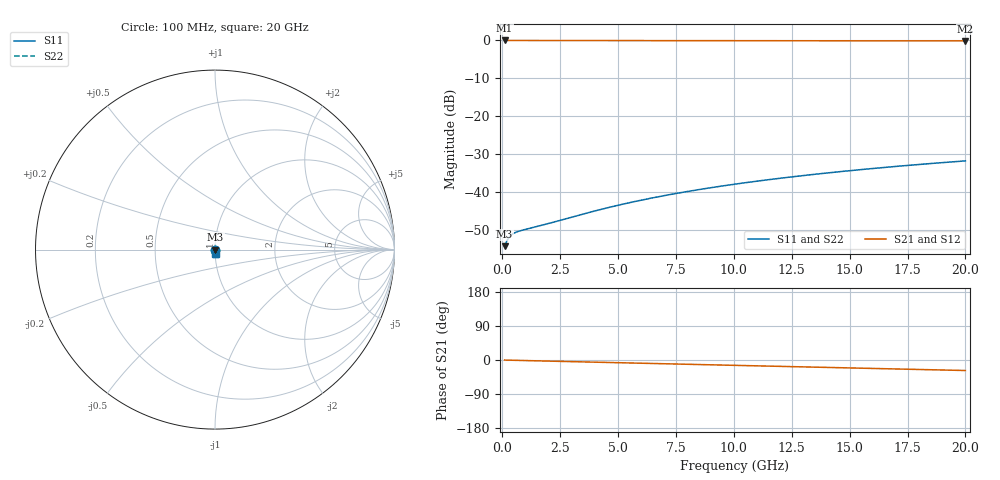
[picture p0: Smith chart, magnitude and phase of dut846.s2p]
! Touchstone file exported from HFSS 2026.1.0
!  File:  C:/ffzhzh/LocalFiles/Ansys_Project_Files/temp_train_BSMRDL_846_1783170489_43440.aedt
!  Generated:  09:09:17 PM Jul  4, 2026
!  Design:  BSMRDL
!  Project:  temp_train_BSMRDL_846_1783170489_43440
! Variables:
!  h_bsmrdl = 4.79um
!  h_ox = 20um
!  h_rdl = 5um
!  h_sub = 80um
!  h_tmrdl = 5um
!  h_tsv = 80um
!  h_via = 3um
!  l_bsmrdl = 495.17um
!  l_sub = 895.17um
!  l_tmrdl = 200um
!  m_sub = 200um
!  pitch = 26.62um
!  r_tsv = 6um
!  s_tmrdl = 10um
!  w_bsmrdl = 22.29um
!  w_sub = 500um
!  w_tmrdl = 12um
!  x_tsv_center1 = 206um
!  x_tsv_center2 = 723.46um
!  x_tsv_center3 = 935.46um
!  x_tsv_center4 = 1452.92um
!  x_tsv_center5 = 1664.92um
!  x_tsv_center6 = 2182.38um
# GHz S MA R 50.000000
! Terminal data exported
! Port[1] = BSM_RDL1_1_T1
! Port[2] = BSM_RDL1_1_T2
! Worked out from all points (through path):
!   200 points, 100 MHz to 20 GHz, reference 50 ohm
!   highest |S21| = -0.02 dB at 100 MHz (marker M1); lowest = -0.1 dB at 20 GHz (marker M2)
!   group delay of S21, straight-line fit = 3.83 ps
!   lowest |S11| = -54.2 dB at 100 MHz (marker M3), VSWR 1.00, Z = 50.2 + j0.0428 ohm
!   |S11| at or under -10 dB: start of sweep to end of sweep
!   |S22| runs from -54.2 to -31.8 dB; largest |S21 - S12| = 2.2e-15
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0.1  0.001951 12.6  0.9981 -0.2  0.9981 -0.2  0.001951 12.6
! Gamma 0 0 0 0
! Port Impedance 50 0 50 0
0.2  0.002298 16.4  0.9978 -0.3  0.9978 -0.3  0.002298 16.4
0.3  0.002575 15.7  0.9975 -0.5  0.9975 -0.5  0.002574 15.7
0.4  0.002762 14.0  0.9973 -0.6  0.9973 -0.6  0.002761 14.0
0.5  0.002891 12.3  0.9972 -0.8  0.9972 -0.8  0.00289 12.3
0.6  0.002985 10.9  0.9971 -0.9  0.9971 -0.9  0.002984 10.9
0.8  0.003126 8.7  0.9969 -1.2  0.9969 -1.2  0.003124 8.7
1.8  0.003737 2.2  0.9963 -2.6  0.9963 -2.6  0.003732 2.2
3.5  0.005182 -9.8  0.9948 -5.1  0.9948 -5.1  0.00517 -9.8
4.3  0.005993 -16.1  0.9941 -6.2  0.9941 -6.2  0.005975 -16.2
5.1  0.006856 -22.3  0.9934 -7.3  0.9934 -7.3  0.00683 -22.4
5.9  0.007757 -28.2  0.9927 -8.4  0.9927 -8.4  0.007723 -28.2
6.8  0.008805 -34.3  0.992 -9.7  0.992 -9.7  0.008762 -34.4
7.6  0.009762 -39.2  0.9914 -10.8  0.9914 -10.8  0.00971 -39.3
8.4  0.01074 -43.7  0.9908 -11.9  0.9908 -11.9  0.01068 -43.9
10.1  0.01286 -52.1  0.9898 -14.2  0.9898 -14.2  0.01278 -52.4
11.7  0.01491 -58.9  0.9888 -16.4  0.9888 -16.4  0.01481 -59.2
13.4  0.01713 -65.1  0.9879 -18.7  0.9879 -18.7  0.017 -65.5
15  0.01924 -70.3  0.9871 -20.9  0.9871 -20.9  0.0191 -70.7
16.7  0.0215 -75.2  0.9863 -23.2  0.9863 -23.2  0.02133 -75.8
18.3  0.02364 -79.5  0.9856 -25.4  0.9856 -25.4  0.02344 -80.1
20  0.0259 -83.8  0.9848 -27.7  0.9848 -27.7  0.02568 -84.4
